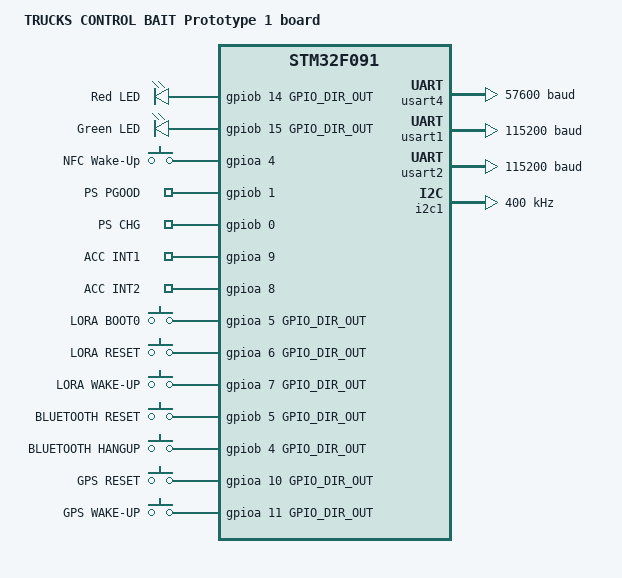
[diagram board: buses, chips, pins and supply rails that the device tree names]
/*
 * Copyright (c) 2018 Trucks Control
 *
 */

/dts-v1/;
#include <st/f0/stm32f091Xc.dtsi>

/ {
	soc {
		usart3: serial@40004800 {
			compatible = "st,stm32-usart", "st,stm32-uart";
			reg = <0x40004800 0x400>;
			clocks = <&rcc STM32_CLOCK_BUS_APB1 0x00040000>;
			interrupts = <29 0>;
			status = "disabled";
			label = "UART_3";
		};
		usart4: serial@40004C00 {
			compatible = "st,stm32-usart", "st,stm32-uart";
			reg = <0x40004C00 0x400>;
			clocks = <&rcc STM32_CLOCK_BUS_APB1 0x00080000>;
			interrupts = <29 0>;
			status = "disabled";
			label = "UART_4";
		};
		pinctrl: pin-controller@48000000 {
			usart3_pins_a: usart3_a {
				rx_tx {
					rx = <STM32_PIN_PB11 (STM32_PINMUX_ALT_FUNC_4 | STM32_PUPDR_NO_PULL)>;
					tx = <STM32_PIN_PB10 (STM32_PINMUX_ALT_FUNC_4 | STM32_PUSHPULL_PULLUP)>;
				};
			};
			usart4_pins_a: usart4_a {
				rx_tx {
					rx = <STM32_PIN_PA1 (STM32_PINMUX_ALT_FUNC_4 | STM32_PUPDR_NO_PULL)>;
					tx = <STM32_PIN_PA0 (STM32_PINMUX_ALT_FUNC_4 | STM32_PUSHPULL_PULLUP)>;
				};
			};
		};
	};
};

/ {
	model = "TRUCKS CONTROL BAIT Prototype 1 board";
	compatible = "st,stm32f091";

	chosen {
		zephyr,console = &usart2;
		zephyr,shell-uart = &usart2;
		zephyr,sram = &sram0;
		zephyr,flash = &flash0;
	};

	leds {
		compatible = "gpio-leds";
		red_led: led_1 {
			gpios = <&gpiob 14 GPIO_DIR_OUT>;
			label = "Red LED";
		};
		green_led: led_2 {
			gpios = <&gpiob 15 GPIO_DIR_OUT>;
			label = "Green LED";
		};
	};

	gpio_keys {
		compatible = "gpio-keys";
		// Entradas - Inicio
		nfc_gpo: nfc1 {
			label = "NFC Wake-Up";
			gpios = <&gpioa 4 (GPIO_DIR_IN | GPIO_INT | GPIO_PUD_PULL_UP | GPIO_INT_EDGE | GPIO_INT_DOUBLE_EDGE | GPIO_INT_DEBOUNCE)>;
		};
		ps_pgood: ps1 {
			label = "PS PGOOD";
			gpios = <&gpiob 1 (GPIO_DIR_IN | GPIO_INT | GPIO_PUD_PULL_UP | GPIO_INT_EDGE | GPIO_INT_DOUBLE_EDGE | GPIO_INT_DEBOUNCE)>;
		};
		ps_chg: ps2 {
			label = "PS CHG";
			gpios = <&gpiob 0 (GPIO_DIR_IN | GPIO_INT | GPIO_PUD_PULL_UP | GPIO_INT_EDGE | GPIO_INT_DOUBLE_EDGE | GPIO_INT_DEBOUNCE)>;
		};
		acc_int1: acc1 {
			label = "ACC INT1";
			gpios = <&gpioa 9 (GPIO_DIR_IN | GPIO_INT | GPIO_PUD_PULL_UP | GPIO_INT_EDGE | GPIO_INT_DOUBLE_EDGE | GPIO_INT_DEBOUNCE)>;
		};
		acc_int2: acc2 {
			label = "ACC INT2";
			gpios = <&gpioa 8 (GPIO_DIR_IN | GPIO_INT | GPIO_PUD_PULL_UP | GPIO_INT_EDGE | GPIO_INT_DOUBLE_EDGE | GPIO_INT_DEBOUNCE)>;
		};
		// Entradas - Fim
		// Saidas - Inicio
		lora_boot0: lora1 {
			label = "LORA BOOT0";
			gpios = <&gpioa 5 GPIO_DIR_OUT>;
		};
		lora_reset: lora2 {
			label = "LORA RESET";
			gpios = <&gpioa 6 GPIO_DIR_OUT>;
		};
		lora_wkup1: lora3 {
			label = "LORA WAKE-UP";
			gpios = <&gpioa 7 GPIO_DIR_OUT>;
		};
		bt_reset: bt1 {
			label = "BLUETOOTH RESET";
			gpios = <&gpiob 5 GPIO_DIR_OUT>;
		};
		bt_hangup: bt2 {
			label = "BLUETOOTH HANGUP";
			gpios = <&gpiob 4 GPIO_DIR_OUT>;
		};
		gps_reset: gps1 {
			label = "GPS RESET";
			gpios = <&gpioa 10 GPIO_DIR_OUT>;
		};
		gps_wakeup: gps2 {
			label = "GPS WAKE-UP";
			gpios = <&gpioa 11 GPIO_DIR_OUT>;
		};
		// Saidas - Fim
	};

	aliases {
		led-red = &red_led;
		led-green = &green_led;
		nfc-gpo = &nfc_gpo;
		ps-pgood = &ps_pgood;
		ps-chg = &ps_chg;
		acc-int1 = &acc_int1;
		acc-int2 = &acc_int2;
		lora-boot0 = &lora_boot0;
		lora-reset = &lora_reset;
		lora-wakeup = &lora_wkup1;
		bt-reset = &bt_reset;
		bt-hangup = &bt_hangup;
		gps-reset = &gps_reset;
		gps-wakeup = &gps_wakeup;
	};
};

// BLUETOOTH
&usart1 {
	current-speed = <115200>;
	pinctrl-0 = <&usart1_pins_a>;
	pinctrl-names = "default";
	status = "ok";
};

// CONSOLE
&usart2 {
	current-speed = <115200>;
	pinctrl-0 = <&usart2_pins_a>;
	pinctrl-names = "default";
	status = "ok";
};

// GPS
// &usart3 {
// 	current-speed = <115200>;
// 	pinctrl-0 = <&usart3_pins_a>;
// 	pinctrl-names = "default";
// 	status = "ok";
// };

// LORA
&usart4 {
	current-speed = <57600>;
	pinctrl-0 = <&usart4_pins_a>;
	pinctrl-names = "default";
	status = "ok";
};

&i2c1 {
	status = "ok";
	clock-frequency = <I2C_BITRATE_FAST>;
};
